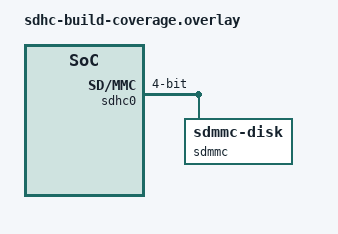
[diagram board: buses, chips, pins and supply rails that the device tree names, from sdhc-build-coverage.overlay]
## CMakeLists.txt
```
# SPDX-License-Identifier: Apache-2.0
cmake_minimum_required(VERSION 3.20)
find_package(Zephyr REQUIRED HINTS $ENV{ZEPHYR_BASE})
project(aen_sdhc_probe LANGUAGES C)
target_sources(app PRIVATE src/main.c)
```

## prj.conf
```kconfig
# SPDX-License-Identifier: Apache-2.0
#
# Bench RAM-run config for the E1M-AEN801 (M55-HE).

CONFIG_ALP_SDK=y

# BENCH-TEST (test/2051-sdhc-enable-on-reworked-mux), not the base branch's
# config: this build's board overlay enables sdhc0 for real (the reworked
# e1m-aen-evk-03 bench board only -- see the overlay and src/main.c headers,
# NOT a general re-enable of #2051/#2122). CONFIG_SDHC is what lets
# CONFIG_SDHC_DWC's own `default y depends on SDHC` actually fire once
# DT_HAS_SNPS_DWC_SDHC_ENABLED is true (vendor-alif-peripherals.kconfig).
# CONFIG_SPI/CONFIG_GPIO back the CC3501E bridge (SPI1 + WIFI_EN/nRESET/
# the GPIO proxy) sd_mux_enable() needs to drive the SDIO mux ENABLE before
# any SD pin is touched -- both set explicitly because this app has no
# board.yaml `peripherals:` block to generate them (standalone Zephyr app,
# see CMakeLists.txt).
CONFIG_SDHC=y
CONFIG_SPI=y
CONFIG_GPIO=y
CONFIG_ALP_SDK_CHIP_CC3501E=y
CONFIG_ALP_SDK_GPIO_CC3501E_PROXY=y

# PROBE 3 (src/main.c): a real disk_access_init()/ioctl()/read() enumeration
# through the `sdmmc` child node the board overlay now adds under &sdhc0 --
# PROBE 1/2 stay register-level and cannot answer "does the card actually
# work", which is the maintainer's real question for this bench build.
# DISK_DRIVER_SDMMC would default to y once DT_HAS_ZEPHYR_SDMMC_DISK_ENABLED
# is true anyway; set explicitly for the same self-describing reason as
# CONFIG_SDHC above. SDMMC_STACK pulls in SD_STACK (subsys/sd), which is
# what actually walks CMD0/CMD8/ACMD41/CID/CSD during disk_access_init().
CONFIG_DISK_ACCESS=y
CONFIG_DISK_DRIVER_SDMMC=y
CONFIG_SDMMC_STACK=y

# `clockctrl` (the SoC-wide clock-gate block sdhc_dwc_init() calls
# clock_control_on() against) is now also pulled in automatically by
# CONFIG_SDHC_DWC's own `select CLOCK_CONTROL if
# dt_compat_any_has_prop(...,clocks)` once sdhc0 is enabled above -- this
# line is kept anyway since it is also what the DISABLED branch's own
# clock-gate proof (main.c's #else arm, compiled on every OTHER board
# target that reuses this app) needs independent of sdhc0's status.
CONFIG_CLOCK_CONTROL=y

CONFIG_MAIN_STACK_SIZE=4096
CONFIG_HEAP_MEM_POOL_SIZE=16384

# FIFO/descriptor data path -- keep coherent on this M55 bench.
CONFIG_DCACHE=n

# Console: Alp UART console -- E1M edge UART0 (Alif UART5, P3_4/P3_5, 115200
# 8N1, NS16550), the E1M-AEN801 carrier console. The board _defconfig already
# selects it; we set it explicitly here so the example is self-describing.
CONFIG_SERIAL=y
CONFIG_CONSOLE=y
CONFIG_UART_CONSOLE=y
CONFIG_UART_INTERRUPT_DRIVEN=y
# Serial-less bench? Comment the four lines above and uncomment these to read
# 'ram_console_buf' over SWD instead:
# CONFIG_RAM_CONSOLE=y
# CONFIG_RAM_CONSOLE_BUFFER_SIZE=2048
# CONFIG_UART_CONSOLE=n
CONFIG_PRINTK=y

# BENCH-TEST discriminator. disk_access_init() returned -134 (-ENOTSUP) on the
# first reworked-mux run, and that code alone cannot tell a dead bus from a
# card that answered: a CMD8 that exhausts its retries returns -ETIMEDOUT
# (subsys/sd/sd_utils.h:69), which sd_common_init() swallows into the legacy
# path (subsys/sd/sd.c:107-109), and a failed sdmmc_card_init() then falls
# through to "Unknown card type" -ENOTSUP (subsys/sd/sd.c:239). The stack
# already logs the deciding line -- "SD CMD8 failed" (sd.c:62) versus "Found
# SDHC with CMD8 support" (sd.c:80) -- but CONFIG_LOG was unset, so every one
# was compiled out. Immediate mode so nothing is lost if init stalls.
CONFIG_LOG=y
CONFIG_LOG_MODE_IMMEDIATE=y
CONFIG_SD_LOG_LEVEL_DBG=y
CONFIG_SDHC_LOG_LEVEL_DBG=y

# ADMA needs to actually move data now that a card is reachable (bench
# evidence, this branch): with this Kconfig OFF, ADMA_SA got programmed with
# the CPU-local DTCM address of sdhc_adma_desc_tbl_0 (0x20000a00) -- a system-
# bus master the SDHC controller cannot resolve -- and the FIRST data-bearing
# command after full enumeration (ACMD41/CMD2/CMD3/CMD9/CMD7/CMD55 all cc:1)
# failed: ERR_INT_STAT 0x0200, ADMA_ERR 0x01, sdmmc_read_scr: ACMD51 failed:
# -5. CONFIG_SDHC_DWC_DMA_ADDR_TRANSLATE=y makes sdhc_dwc.c route every ADMA/
# SDMA address (descriptor table base + per-descriptor data buffer) through
# hal_alif's local_to_global(), which now has what it needs: the E8 HE board
# dts (alp_e1m_aen801_m55_he_ae822fa0e5597ls0_rtss_he.dts) already sets
# `global_base` on &itcm/&dtcm (0x58000000/0x58800000, RTSS-HE's global TCM
# alias) via the alif,itcm/alif,dtcm bindings, wired for the Ethos-U/xHCI
# translate path already in this branch -- SDHC only needed this Kconfig.
CONFIG_SDHC_DWC_DMA_ADDR_TRANSLATE=y
```

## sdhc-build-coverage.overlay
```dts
/*
 * Copyright (c) 2026 Alp Lab AB
 * SPDX-License-Identifier: Apache-2.0
 *
 * ALP-SDK DELTA (#2051), not upstream: BUILD-ONLY driver-coverage overlay.
 * NEVER FLASH THIS on an E1M-EVK 2626-R2. It sets sdhc0 to "okay", which
 * applies SD pinctrl and emits SDCLK onto E1M_CLK, E1M_CMD and
 * E1M_D3..D0. On carrier 2626-R2 the 74LVC157s U38/U39 hold exactly
 * those nets LOW whenever powered, with no high-impedance state, so the
 * SoC would be driving HIGH into a part driving LOW on six pads at once.
 * This configuration is build-only and MUST stay build-only -- see the
 * board overlay and README.md for why sdhc0 stays disabled on the real,
 * flashable configuration.
 *
 * With sdhc0 disabled in the board overlay (the real, flashable
 * configuration), nothing in this app's normal build exercises
 * CONFIG_SDHC_DWC any more -- which means the #1097 regression
 * (CONFIG_SDHC_DWC_ADMA's descriptor table landing in an empty-named
 * linker section, a hard orphan-section link error under
 * -Wl,--fatal-warnings) lost its build coverage along with it. This
 * overlay re-enables sdhc0 for a SEPARATE, build_only twister scenario
 * (see testcase.yaml's `.sdhc_build_coverage` variant) that layers on
 * top of the board's real overlay via `extra_dtc_overlay_files` --
 * never the app's own default target, never flashed, never run.
 *
 * The pad route below (CLK=P14_1, CMD=P14_0, D0..D3=P13_0..P13_3, the SD
 * "B" route) is the module's real wiring -- see the board overlay's
 * former header (git blame) for the full derivation -- reused here only
 * because it is a valid, already-verified pinctrl group; on this
 * build-only scenario, no signal on these pads is ever driven.
 */
#include <zephyr/dt-bindings/pinctrl/alif-ensemble-pinctrl.h>

&pinctrl {
	pinctrl_sdmmc_build_coverage: pinctrl_sdmmc_build_coverage {
		group0 {
			pinmux = <PIN_P14_1__SD_CLK_B>;
			drive-strength = <8>;
			input-enable;
		};
		group1 {
			pinmux = <PIN_P14_0__SD_CMD_B>,
				 <PIN_P13_0__SD_D0_B>, <PIN_P13_1__SD_D1_B>,
				 <PIN_P13_2__SD_D2_B>, <PIN_P13_3__SD_D3_B>;
			drive-strength = <8>;
			input-enable;
		};
	};
};

&sdhc0 {
	max-bus-freq = <25000000>;
	min-bus-freq = <400000>;
	power-delay-ms = <500>;
	bus-width = <4>;
	no-1-8-v;
	pinctrl-0 = <&pinctrl_sdmmc_build_coverage>;
	pinctrl-names = "default";
	status = "okay";

	sdmmc {
		compatible = "zephyr,sdmmc-disk";
		disk-name = "SD";
		status = "okay";
	};
};
```

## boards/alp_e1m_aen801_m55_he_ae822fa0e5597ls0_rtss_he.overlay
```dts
/*
 * Copyright (c) 2026 Alp Lab AB
 * SPDX-License-Identifier: Apache-2.0
 *
 * SD Host Controller overlay for the E1M-AEN801 (E8, M55-HE) -- E1M-EVK
 * 2626-R2 ONLY. `sdhc0` stays DISABLED on this board (the shared SoC dtsi's
 * own default, zephyr/dts/alif/ensemble_e8_peripherals.dtsi): the maintainer
 * decided (#2051) to keep SD off entirely on 2626-R2, not merely to leave
 * the mux ENABLE undriven.
 *
 * WHY DISABLED, NOT JUST MUX-UNDRIVEN: the 74LVC157 SDIO mux (U38/U39) has
 * NO high-impedance state -- with `/E` HIGH its Y outputs are forced LOW,
 * not released. U38/U39's outputs are the SoC-side nets (E1M_CLK, E1M_CMD,
 * E1M_D3..D0, E1M_SDIO_RST), so those nets are actively held low by the mux
 * *whenever the mux is powered*, regardless of `/E`. `sdhc_dwc_init()`
 * applying SD pinctrl and `set_def_config()` starting the 400 kHz
 * identification clock on P14_1 -- which happens at POST_KERNEL, before
 * main() ever runs, whether or not this app touches the mux at all -- would
 * put the SoC's own 8 mA CLK/CMD drivers in a fight with the mux's held-low
 * outputs on every SD-routed pad. Leaving `sdhc0` disabled is the only way
 * to keep those pads untouched: no pinctrl applied, no SDCLK emitted, no
 * driver contention. This is a hardware defect pending a component change,
 * not a firmware workaround -- see README.md and docs/boards/e1m-evk.md.
 *
 * PAD ROUTING HISTORY (inert while `sdhc0` is disabled, kept for whenever
 * this mux is fixed and SD is re-enabled): the SD "B" pad route
 * (CLK=P14_1, CMD=P14_0, D0..D3=P13_0..P13_3) is the module's real wiring,
 * corroborated by five independent metadata sources
 * (metadata/pinmux/aen.yaml:49-64, metadata/e1m_modules/aen/from-alif.tsv:36-48,
 * metadata/e1m_modules/aen/inter-chip.tsv:41-46, docs/cc3501e-bridge.md:74)
 * plus the EVK netlist (U39 pin 12 carries E1M_CMD to E2 AH11). All of CLK,
 * CMD and D0..D3 need the pad input buffer enabled (`input-enable`) even
 * though CLK is a push-pull SoC output from the SoC's own perspective: this
 * controller's command/data state machines clock off CLK LOOPED BACK FROM
 * THE PAD, not the pre-pad internal signal, so omitting it silently kills
 * that loopback (Alif's own DFP `demo_sd.c`/`demo_sdio.c`/`demo_sd_fatfs.c`/
 * `demo_mci_mdk_cmsisrtos2.c` and vendor Linux's dts pad config `0x23` on SD
 * CLK all agree). None of this is applied while `sdhc0` is disabled; git
 * blame this file for the last revision that wired it live.
 */

/ {
	chosen {
		zephyr,flash = &itcm; /* bench RAM/SES-load; path-ref form */
		/delete-property/ zephyr,code-partition;
	};
};

/*
 * ALP-SDK DELTA (#2051), not upstream: DISABLED, on purpose, on this board
 * -- see the file header. This is the SoC dtsi's own default
 * (zephyr/dts/alif/ensemble_e8_peripherals.dtsi); the explicit override
 * here exists only so a reader does not have to go looking for why no SD
 * pinctrl or bus-limit properties are set anywhere in this file.
 */
&sdhc0 {
	status = "disabled";
};

/*
 * ALP-SDK DELTA (#2051), not upstream: this app no longer brings up the
 * CC3501E inter-chip bridge, the SE-service MHUv2 transport, or any of
 * their DT wiring (SPI1, WIFI_EN/nRESET/READY, seservice0r/seservice0s/
 * se_service) -- all previously here to reach the SD mux ENABLE and to
 * cross-check the SD 100 MHz clock source via the Secure Enclave. Neither
 * survives in src/main.c any more: the mux is never touched (see the file
 * header), and the SE clock-cycle diagnostic was investigative machinery
 * for the now-superseded clock-source-mux theory, not part of the
 * controller-level probes this app keeps. See git blame for the last
 * revision that wired any of it.
 */
```

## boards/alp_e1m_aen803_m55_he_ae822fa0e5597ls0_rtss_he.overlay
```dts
/*
 * Copyright (c) 2026 Alp Lab AB
 * SPDX-License-Identifier: Apache-2.0
 *
 * SD Host Controller overlay for the E1M-AEN803 (E8, M55-HE) -- E1M-EVK
 * 2626-R2 ONLY. `sdhc0` stays DISABLED on this board (the shared SoC dtsi's
 * own default, zephyr/dts/alif/ensemble_e8_peripherals.dtsi): the maintainer
 * decided (#2051) to keep SD off entirely on 2626-R2, not merely to leave
 * the mux ENABLE undriven.
 *
 * WHY DISABLED, NOT JUST MUX-UNDRIVEN: the 74LVC157 SDIO mux (U38/U39) has
 * NO high-impedance state -- with `/E` HIGH its Y outputs are forced LOW,
 * not released. U38/U39's outputs are the SoC-side nets (E1M_CLK, E1M_CMD,
 * E1M_D3..D0, E1M_SDIO_RST), so those nets are actively held low by the mux
 * *whenever the mux is powered*, regardless of `/E`. `sdhc_dwc_init()`
 * applying SD pinctrl and `set_def_config()` starting the 400 kHz
 * identification clock on P14_1 -- which happens at POST_KERNEL, before
 * main() ever runs, whether or not this app touches the mux at all -- would
 * put the SoC's own 8 mA CLK/CMD drivers in a fight with the mux's held-low
 * outputs on every SD-routed pad. Leaving `sdhc0` disabled is the only way
 * to keep those pads untouched: no pinctrl applied, no SDCLK emitted, no
 * driver contention. This is a hardware defect pending a component change,
 * not a firmware workaround -- see README.md and docs/boards/e1m-evk.md.
 *
 * PAD ROUTING HISTORY (inert while `sdhc0` is disabled, kept for whenever
 * this mux is fixed and SD is re-enabled): the SD "B" pad route
 * (CLK=P14_1, CMD=P14_0, D0..D3=P13_0..P13_3) is the module's real wiring,
 * corroborated by five independent metadata sources
 * (metadata/pinmux/aen.yaml:49-64, metadata/e1m_modules/aen/from-alif.tsv:36-48,
 * metadata/e1m_modules/aen/inter-chip.tsv:41-46, docs/cc3501e-bridge.md:74)
 * plus the EVK netlist (U39 pin 12 carries E1M_CMD to E2 AH11). All of CLK,
 * CMD and D0..D3 need the pad input buffer enabled (`input-enable`) even
 * though CLK is a push-pull SoC output from the SoC's own perspective: this
 * controller's command/data state machines clock off CLK LOOPED BACK FROM
 * THE PAD, not the pre-pad internal signal, so omitting it silently kills
 * that loopback (Alif's own DFP `demo_sd.c`/`demo_sdio.c`/`demo_sd_fatfs.c`/
 * `demo_mci_mdk_cmsisrtos2.c` and vendor Linux's dts pad config `0x23` on SD
 * CLK all agree). None of this is applied while `sdhc0` is disabled; git
 * blame this file for the last revision that wired it live.
 */

/ {
	chosen {
		zephyr,flash = &itcm; /* bench RAM/SES-load; path-ref form */
		/delete-property/ zephyr,code-partition;
	};
};

/*
 * ALP-SDK DELTA (#2051), not upstream: DISABLED, on purpose, on this board
 * -- see the file header. This is the SoC dtsi's own default
 * (zephyr/dts/alif/ensemble_e8_peripherals.dtsi); the explicit override
 * here exists only so a reader does not have to go looking for why no SD
 * pinctrl or bus-limit properties are set anywhere in this file.
 */
&sdhc0 {
	status = "disabled";
};

/*
 * ALP-SDK DELTA (#2051), not upstream: this app no longer brings up the
 * CC3501E inter-chip bridge, the SE-service MHUv2 transport, or any of
 * their DT wiring (SPI1, WIFI_EN/nRESET/READY, seservice0r/seservice0s/
 * se_service) -- all previously here to reach the SD mux ENABLE and to
 * cross-check the SD 100 MHz clock source via the Secure Enclave. Neither
 * survives in src/main.c any more: the mux is never touched (see the file
 * header), and the SE clock-cycle diagnostic was investigative machinery
 * for the now-superseded clock-source-mux theory, not part of the
 * controller-level probes this app keeps. See git blame for the last
 * revision that wired any of it.
 */
```

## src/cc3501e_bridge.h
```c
/*
 * SPDX-License-Identifier: Apache-2.0
 * Copyright 2026 Alp Lab AB
 *
 * One-call bring-up of the E1M-AEN SoM's CC3501E Wi-Fi 6 / BLE coprocessor
 * over the inter-chip SPI bridge -- copied verbatim from
 * examples/aen/aen-cc3501e-gpio/src/cc3501e_bridge.h.
 *
 * BENCH-TEST SCOPE: this app needs the bridge for exactly ONE reason -- to
 * drive the SDIO mux ENABLE (E1M IO20 -> CC3501E GPIO_26) before touching
 * sdhc0, on the physically reworked e1m-aen-evk-03 bench board. See the
 * board overlay and src/main.c for the full rationale; this file itself is
 * unmodified SoM bring-up boilerplate, not a mux-specific detail.
 *
 * The CC3501E is part of the SoM (module U4 = BDE-BW35N): the application
 * does NOT touch the raw SPI bus or the WIFI_EN / nRESET control pins. It
 * calls cc3501e_bridge_bringup() once, gets a ready @ref cc3501e_t, and from
 * there uses the portable surfaces:
 *   - cc3501e_* (chips/cc3501e)            -- MAC / Wi-Fi / BLE / GPIO-proxy / OTA
 *   - alp_gpio_open(ALP_E1M_GPIO_IOxx)         -- proxied E1M IOs (when the proxy is built)
 */

#ifndef CC3501E_BRIDGE_H
#define CC3501E_BRIDGE_H

#include <alp/peripheral.h>    /* alp_status_t */
#include <alp/chips/cc3501e.h> /* cc3501e_t */

/* ---- E1M-AEN SoM bridge defaults (override per board variant) ---------------- */

#ifndef CC3501E_BRIDGE_SPI_BUS_ID
#define CC3501E_BRIDGE_SPI_BUS_ID 1u
#endif
#ifndef CC3501E_BRIDGE_SPI_FREQ_HZ
/* 25 MHz = 200 MHz SSI functional clock / 8 -- see
 * examples/aen/aen-cc3501e-gpio/src/cc3501e_bridge.h for the full derivation
 * (silicon-measured on E1M-AEN803 serial 2026W36-0002). */
#define CC3501E_BRIDGE_SPI_FREQ_HZ 25000000u
#endif

/* CC3501E control pins on the Alif LP-GPIO island (NOT E1M edge pads):
 * WIFI_EN = supply gate (P15_5), nRESET = reset (P15_1_FLEX). */
#ifndef CC3501E_BRIDGE_PIN_WIFI_EN
#define CC3501E_BRIDGE_PIN_WIFI_EN 0u
#endif
#ifndef CC3501E_BRIDGE_PIN_NRST
#define CC3501E_BRIDGE_PIN_NRST 1u
#endif
/* OPTIONAL host-IRQ/READY input -- not wired by this app's overlay (2-entry
 * alp_pins array), so alp_gpio_open() on this index returns NULL and
 * cc3501e_request() falls back to its fixed-gap delay. */
#ifndef CC3501E_BRIDGE_PIN_READY
#define CC3501E_BRIDGE_PIN_READY 2u
#endif

/* DW SSI SPI1 base (0x48104000) + RX_SAMPLE_DLY to run the bridge SCLK above
 * 1 MHz. 4 is silicon-measured at the 25 MHz working point -- see
 * examples/aen/aen-cc3501e-gpio/src/cc3501e_bridge.h for the sweep data. */
#ifndef CC3501E_BRIDGE_SPI1_BASE
#define CC3501E_BRIDGE_SPI1_BASE 0x48104000u
#endif
#ifndef CC3501E_BRIDGE_RX_SAMPLE_DLY
#define CC3501E_BRIDGE_RX_SAMPLE_DLY 4u
#endif

/**
 * @brief Bring up the SoM's CC3501E coprocessor over the inter-chip bridge.
 *
 * Opens the hardware-SS0 bridge SPI + the WIFI_EN / nRESET control pins,
 * binds them to @p fw, attaches the GPIO proxy (when
 * CONFIG_ALP_SDK_GPIO_CC3501E_PROXY is built), and runs the power + reset
 * sequence. Blocks ~900 ms for the boot budget; leaves WIFI_EN HIGH.
 *
 * @param fw  Caller-owned handle, populated on success. Use it with cc3501e_*.
 * @return ALP_OK with @p fw ready; ALP_ERR_NOT_PRESENT_ON_THIS_SOC if the SPI
 *         bus / control pins are absent (check the board overlay); otherwise
 *         the reset sequence status. On any failure @p fw is left un-bound.
 */
alp_status_t cc3501e_bridge_bringup(cc3501e_t *fw);

#endif /* CC3501E_BRIDGE_H */
```

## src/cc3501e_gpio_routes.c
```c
/*
 * SPDX-License-Identifier: Apache-2.0
 * Copyright 2026 Alp Lab AB
 *
 * Strong override of the WEAK cc3501e_gpio_routes[] / cc3501e_gpio_route_count
 * in src/backends/gpio/cc3501e_proxy_routes_weak.c (empty by default). This
 * app needs exactly ONE proxied pin -- the SDIO mux ENABLE -- so it carries
 * one entry rather than the full generated table
 * (examples/aen/aen-cc3501e-gpio/src/cc3501e_gpio_routes.c and siblings) --
 * see that file's own header for the generator + the other AEN801 routes.
 *
 * ALP_E1M_GPIO_IO20 -> raw CC3501E GPIO_26 -- the SDIO 74LVC157 (now
 * 74LV3257 on the reworked bench board) mux ENABLE, active low.
 * metadata/e1m_modules/E1M-AEN801.yaml:356.
 */

#include <stddef.h>

#include <alp/chips/cc3501e.h>
#include <alp/e1m_pinout.h>

const cc3501e_gpio_route_t cc3501e_gpio_routes[] = {
	{ ALP_E1M_GPIO_IO20, 26u }, /* SDIO mux /E; drive low to enable mux. */
};

const size_t cc3501e_gpio_route_count =
    sizeof(cc3501e_gpio_routes) / sizeof(cc3501e_gpio_routes[0]);
```

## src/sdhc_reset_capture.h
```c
/*
 * Copyright (c) 2026 Alp Lab AB
 * SPDX-License-Identifier: Apache-2.0
 *
 * sdhc_reset_capture -- the register snapshot this app takes around
 * sdhc_hw_reset() to answer #2181: does the DWC SDHC driver's reset() path
 * actually restore the configuration sdhc_dwc_set_def_config() programs at
 * init, or does the bare SW_RST_ALL it issues leave those registers at
 * their post-reset silicon defaults?
 *
 * sdhc_dwc_reset() (this repo's zephyr/drivers/sdhc/sdhc_dwc.c, the ALP-SDK
 * delta over upstream) issues `sdhc_dwc_hw_reset(dev,
 * DWC_SDHC_SW_RST_ALL_Msk)` and then, as of #2122, re-calls
 * sdhc_dwc_set_def_config() unconditionally -- even on a reset timeout --
 * so RESTORED is the expected reading of today's code (NOT RESTORED is the
 * #2122 regression signal). What #2122 fixed is
 * the register-programming half; whether that re-programming actually
 * lands and survives on real silicon (register write ordering, timing,
 * clock-gate races the source can't show) is exactly what is unmeasured.
 * This header only captures and compares; it draws no conclusion a bench
 * run hasn't produced.
 *
 * Split in two on purpose:
 *   - sdhc_reset_capture()    reads real silicon (sys_read32) -- lives in
 *     main.c, Zephyr-only, never built on host.
 *   - sdhc_reset_regs_equal() pure struct comparison, no I/O at all -- host
 *     testable under native_sim (tests/unit/sdhc_reset_regs_compare/), which
 *     includes this header directly, same pattern
 *     tests/unit/rail_features/ uses for examples/ai/rail-predictive-
 *     maintenance/src/rail_features.c.
 *
 * sdhc_reset_regs_equal() alone cannot catch a silently-broken
 * set_def_config(): `sdhc_dwc_init()` (POST_KERNEL, before main() ever
 * runs) already calls `sdhc_dwc_reset()` once, so main.c's "before" capture
 * is ALSO a post-set_def_config() reading, not a pre-reset one. If
 * set_def_config() were a no-op on some silicon, both captures would read
 * POR and still compare equal. sdhc_reset_regs_matches_def_config() checks
 * the after-capture against the fixed values set_def_config() itself
 * programs, independent of any earlier capture -- see main.c, PROBE 3.
 */

#ifndef SDHC_RESET_CAPTURE_H_
#define SDHC_RESET_CAPTURE_H_

#include <stdbool.h>
#include <stdint.h>

/*
 * The seven registers #2181 names as unverified across reset() (addresses
 * per the issue, SD_REG_BASE = 0x48102000):
 *   NORMAL_INT_STAT_EN    0x034 (16b) -- packed with ERROR_INT_STAT_EN
 *   ERROR_INT_STAT_EN     0x036 (16b) -- into one aligned 32b read
 *   NORMAL_INT_SIGNAL_EN  0x038 (16b) -- packed with ERROR_INT_SIGNAL_EN
 *   ERROR_INT_SIGNAL_EN   0x03a (16b) -- into one aligned 32b read
 *   HOST_CTRL2            0x03e (16b)
 *   PWR_CTRL              0x029 (8b)
 *   CLK_CTRL_R            0x02c (16b)
 */
struct sdhc_reset_regs {
	uint32_t normal_error_int_stat_en;   /* 0x034 low16 / 0x036 high16 */
	uint32_t normal_error_int_signal_en; /* 0x038 low16 / 0x03a high16 */
	uint16_t host_ctrl2;                 /* 0x03e */
	uint8_t  pwr_ctrl;                   /* 0x029 */
	uint16_t clk_ctrl;                   /* 0x02c */
};

/*
 * Pure comparison -- no register access, no Zephyr dependency. Returns true
 * iff every field this app captured matches. Field-by-field, not memcmp:
 * struct padding is implementation-defined and must never flip the verdict.
 */
static inline bool sdhc_reset_regs_equal(const struct sdhc_reset_regs *before,
                                         const struct sdhc_reset_regs *after)
{
	return before->normal_error_int_stat_en == after->normal_error_int_stat_en &&
	       before->normal_error_int_signal_en == after->normal_error_int_signal_en &&
	       before->host_ctrl2 == after->host_ctrl2 && before->pwr_ctrl == after->pwr_ctrl &&
	       before->clk_ctrl == after->clk_ctrl;
}

/*
 * The fixed values `sdhc_dwc_set_def_config()` (zephyr/drivers/sdhc/
 * sdhc_dwc.c) itself programs -- all POR-zero, so a capture reading POR on
 * every one of these bits means set_def_config() never ran or never landed,
 * regardless of what any earlier capture shows:
 *   - NORMAL_INT_STAT_EN / ERROR_INT_STAT_EN: ORed with NORM_INTR_ALL_Msk /
 *     ERROR_INTR_ALL_Msk (0xFFFF each, less the card IRQ bit) -- non-zero.
 *   - NORMAL_INT_SIGNAL_EN / ERROR_INT_SIGNAL_EN: ORed with CC|TC|DMA|BWR|
 *     BRR / ERROR_INTR_ALL_Msk -- non-zero.
 *   - HOST_CTRL2: ASYNC_INT_EN (bit14) | VER4_EN (bit12) set.
 *   - PWR_CTRL: bit0 (VDD1 bus power) set by set_power(SDHC_POWER_ON).
 *   - CLK_CTRL_R: bit0 (INTERNAL_CLK_EN) and bit2 (CLK_EN) set by
 *     sdhc_dwc_clock_set() once the clock reports stable -- bit1 (the
 *     STABLE status flag) is already masked out of the capture, see
 *     main.c's SD_CLK_CTRL_STABLE_BIT.
 */
#define SDHC_RESET_CAPTURE_HOST_CTRL2_EXPECT_Msk 0x5000u /* ASYNC_INT_EN | VER4_EN */
#define SDHC_RESET_CAPTURE_PWR_CTRL_VDD1_Msk     0x01u
#define SDHC_RESET_CAPTURE_CLK_CTRL_EXPECT_Msk   0x05u /* INTERNAL_CLK_EN | CLK_EN */

static inline bool sdhc_reset_regs_matches_def_config(const struct sdhc_reset_regs *r)
{
	return (r->normal_error_int_stat_en & 0xFFFFu) != 0u &&
	       (r->normal_error_int_stat_en >> 16) != 0u &&
	       (r->normal_error_int_signal_en & 0xFFFFu) != 0u &&
	       (r->normal_error_int_signal_en >> 16) != 0u &&
	       (r->host_ctrl2 & SDHC_RESET_CAPTURE_HOST_CTRL2_EXPECT_Msk) ==
	           SDHC_RESET_CAPTURE_HOST_CTRL2_EXPECT_Msk &&
	       (r->pwr_ctrl & SDHC_RESET_CAPTURE_PWR_CTRL_VDD1_Msk) != 0u &&
	       (r->clk_ctrl & SDHC_RESET_CAPTURE_CLK_CTRL_EXPECT_Msk) ==
	           SDHC_RESET_CAPTURE_CLK_CTRL_EXPECT_Msk;
}

#endif /* SDHC_RESET_CAPTURE_H_ */
```
